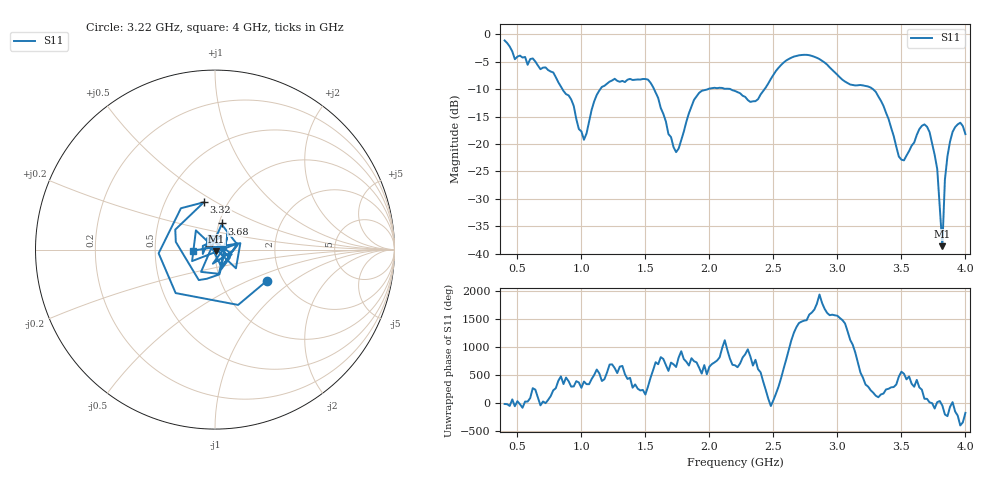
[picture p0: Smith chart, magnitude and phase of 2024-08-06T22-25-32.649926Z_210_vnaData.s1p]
!Created with skrf (http://scikit-rf.org).
# Hz S RI R 50.0
!freq ReS11 ImS11
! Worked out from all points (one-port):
!   181 points, 400 MHz to 4 GHz, reference 50 ohm
!   lowest |S11| = -38.6 dB at 3.82 GHz (marker M1), VSWR 1.02, Z = 50.8 - j0.86 ohm
!   |S11| at or under -10 dB: 851.8 MHz to 1.148 GHz (296 MHz wide, 29.6 % of centre); 1.568 GHz to 1.989 GHz (421.9 MHz wide, 23.7 % of centre); 3.277 GHz to end of sweep (the widest 3 of 4)
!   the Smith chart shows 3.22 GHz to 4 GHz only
!   S11 on the Smith chart (normalised r, x): 3.22 GHz: 1.66, -0.65; 3.32 GHz: 0.77, +0.44; 3.68 GHz: 1.03, +0.31; 4 GHz: 0.78, -0.01
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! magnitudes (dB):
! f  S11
! 400 MHz  -1.1
! 480 MHz  -4.5
! 620 MHz  -4.4
! 860 MHz  -10.3
! 1.02 GHz  -19.2
! 1.14 GHz  -10.3
! 1.3 GHz  -8.7
! 1.52 GHz  -8.3
! 1.72 GHz  -20.6
! 1.76 GHz  -20.8
! 1.92 GHz  -10.7
! 2.2 GHz  -10.3
! 2.36 GHz  -12.2
! 2.66 GHz  -4.1
! 2.84 GHz  -4.3
! 3.1 GHz  -9.2
! 3.22 GHz  -9.4
! 3.32 GHz  -11.3
! 3.48 GHz  -22.3
! 3.56 GHz  -21.3
! 3.68 GHz  -16.4
! 3.72 GHz  -17.8
! 3.78 GHz  -24.6
! 3.82 GHz  -38.6
! 3.84 GHz  -26.5
! 3.88 GHz  -19.6
! 3.96 GHz  -16.1
! 4 GHz  -18.2
